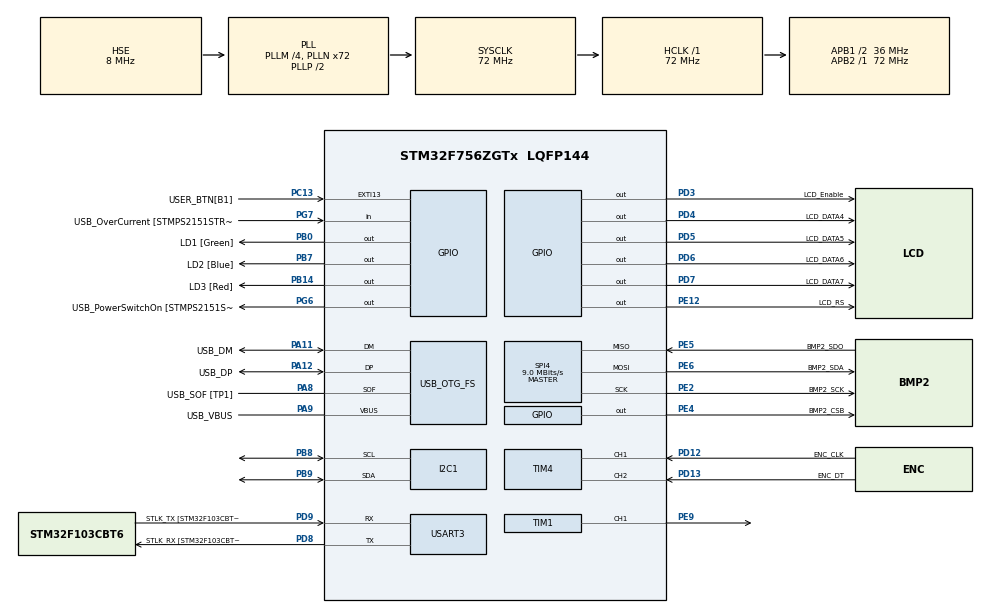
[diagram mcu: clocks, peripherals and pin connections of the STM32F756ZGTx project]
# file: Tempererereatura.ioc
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Dma.Request0=USART3_RX
Dma.USART3_RX.0.Direction=DMA_PERIPH_TO_MEMORY
Dma.USART3_RX.0.FIFOMode=DMA_FIFOMODE_DISABLE
Dma.USART3_RX.0.Instance=DMA1_Stream1
Dma.USART3_RX.0.MemDataAlignment=DMA_MDATAALIGN_BYTE
Dma.USART3_RX.0.MemInc=DMA_MINC_ENABLE
Dma.USART3_RX.0.Mode=DMA_NORMAL
Dma.USART3_RX.0.PeriphDataAlignment=DMA_PDATAALIGN_BYTE
Dma.USART3_RX.0.PeriphInc=DMA_PINC_DISABLE
Dma.USART3_RX.0.Priority=DMA_PRIORITY_LOW
I2C1.Timing=0x00808CD2
Mcu.Family=STM32F7
Mcu.Name=STM32F756ZGTx
Mcu.Package=LQFP144
NVIC.DMA1_Stream1_IRQn=true\:0\:0\:false\:true\:true\:2\:false\:true\:true
NVIC.PriorityGroup=NVIC_PRIORITYGROUP_4
NVIC.SPI4_IRQn=true\:0\:0\:false\:false\:true\:true\:true\:true
NVIC.TIM3_IRQn=true\:0\:0\:false\:false\:true\:true\:true\:true
NVIC.USART3_IRQn=true\:0\:0\:false\:true\:true\:1\:true\:true\:true
PA1.GPIO_Label=RMII_REF_CLK [LAN8742A-CZ-TR_REFCLK0]
PA1.Signal=ETH_REF_CLK
PA10.GPIO_Label=USB_ID
PA10.Signal=USB_OTG_FS_ID
PA11.GPIO_Label=USB_DM
PA11.Mode=Device_Only
PA11.Signal=USB_OTG_FS_DM
PA12.GPIO_Label=USB_DP
PA12.Mode=Device_Only
PA12.Signal=USB_OTG_FS_DP
PA13.GPIO_Label=TMS
PA13.Mode=Serial_Wire
PA13.Signal=SYS_JTMS-SWDIO
PA14.GPIO_Label=TCK
PA14.Mode=Serial_Wire
PA14.Signal=SYS_JTCK-SWCLK
PA2.GPIO_Label=RMII_MDIO [LAN8742A-CZ-TR_MDIO]
PA2.Signal=ETH_MDIO
PA7.GPIO_Label=RMII_CRS_DV [LAN8742A-CZ-TR_CRS_DV]
PA7.Signal=ETH_CRS_DV
PA8.GPIO_Label=USB_SOF [TP1]
PA8.Mode=Activate_SOF_FS
PA8.Signal=USB_OTG_FS_SOF
PA9.GPIO_Label=USB_VBUS
PA9.Mode=Activate_VBUS
PA9.Signal=USB_OTG_FS_VBUS
PB0.GPIO_Label=LD1 [Green]
PB0.Signal=GPIO_Output
PB13.GPIO_Label=RMII_TXD1 [LAN8742A-CZ-TR_TXD1]
PB13.Signal=ETH_TXD1
PB14.GPIO_Label=LD3 [Red]
PB14.Signal=GPIO_Output
PB3.GPIO_Label=SW0
PB3.Signal=SYS_JTDO-SWO
PB7.GPIO_Label=LD2 [Blue]
PB7.Signal=GPIO_Output
PB8.Mode=I2C
PB8.Signal=I2C1_SCL
PB9.Mode=I2C
PB9.Signal=I2C1_SDA
PC1.GPIO_Label=RMII_MDC [LAN8742A-CZ-TR_MDC]
PC1.Signal=ETH_MDC
PC13.GPIO_Label=USER_BTN[B1]
PC13.Signal=GPXTI13
PC14/OSC32_IN.Mode=LSE-External-Oscillator
PC14/OSC32_IN.Signal=RCC_OSC32_IN
PC15/OSC32_OUT.Mode=LSE-External-Oscillator
PC15/OSC32_OUT.Signal=RCC_OSC32_OUT
PC4.GPIO_Label=RMII_RXD0 [LAN8742A-CZ-TR_RXD0]
PC4.Signal=ETH_RXD0
PC5.GPIO_Label=RMII_RXD1 [LAN8742A-CZ-TR_RXD1]
PC5.Signal=ETH_RXD1
PD12.GPIO_Label=ENC_CLK
PD12.Signal=S_TIM4_CH1
PD13.GPIO_Label=ENC_DT
PD13.Signal=S_TIM4_CH2
PD3.GPIO_Label=LCD_Enable
PD3.Signal=GPIO_Output
PD4.GPIO_Label=LCD_DATA4
PD4.Signal=GPIO_Output
PD5.GPIO_Label=LCD_DATA5
PD5.Signal=GPIO_Output
PD6.GPIO_Label=LCD_DATA6
PD6.Signal=GPIO_Output
PD7.GPIO_Label=LCD_DATA7
PD7.Signal=GPIO_Output
PD8.GPIO_Label=STLK_RX [STM32F103CBT6_PA3]
PD8.Mode=Asynchronous
PD8.Signal=USART3_TX
PD9.GPIO_Label=STLK_TX [STM32F103CBT6_PA2]
PD9.Mode=Asynchronous
PD9.Signal=USART3_RX
PE12.GPIO_Label=LCD_RS
PE12.Signal=GPIO_Output
PE2.GPIO_Label=BMP2_SCK
PE2.Mode=Full_Duplex_Master
PE2.Signal=SPI4_SCK
PE4.GPIO_Label=BMP2_CSB
PE4.Signal=GPIO_Output
PE5.GPIO_Label=BMP2_SDO
PE5.Mode=Full_Duplex_Master
PE5.Signal=SPI4_MISO
PE6.GPIO_Label=BMP2_SDA
PE6.Mode=Full_Duplex_Master
PE6.Signal=SPI4_MOSI
PE9.Signal=S_TIM1_CH1
PG11.GPIO_Label=RMII_TX_EN [LAN8742A-CZ-TR_TXEN]
PG11.Signal=ETH_TX_EN
PG13.GPIO_Label=RMII_TXD0 [LAN8742A-CZ-TR_TXD0]
PG13.Signal=ETH_TXD0
PG6.GPIO_Label=USB_PowerSwitchOn [STMPS2151STR_EN]
PG6.Signal=GPIO_Output
PG7.GPIO_Label=USB_OverCurrent [STMPS2151STR_FAULT]
PG7.Signal=GPIO_Input
PH0/OSC_IN.GPIO_Label=MCO [STM32F103CBT6_PA8]
PH0/OSC_IN.Mode=HSE-External-Clock-Source
PH0/OSC_IN.Signal=RCC_OSC_IN
PH1/OSC_OUT.Mode=HSE-External-Clock-Source
PH1/OSC_OUT.Signal=RCC_OSC_OUT
ProjectManager.HeapSize=0x200
ProjectManager.StackSize=0x400
ProjectManager.TargetToolchain=STM32CubeIDE
RCC.48MHZClocksFreq_Value=24000000
RCC.AHBFreq_Value=72000000
RCC.APB1CLKDivider=RCC_HCLK_DIV2
RCC.APB1Freq_Value=36000000
RCC.APB1TimFreq_Value=72000000
RCC.APB2Freq_Value=72000000
RCC.APB2TimFreq_Value=72000000
RCC.CortexFreq_Value=72000000
RCC.HCLKFreq_Value=72000000
RCC.HSE_VALUE=8000000
RCC.HSI_VALUE=16000000
RCC.PLLM=4
RCC.PLLMUL=RCC_PLL_MUL9
RCC.PLLN=72
RCC.PLLQ=3
RCC.PRESCALERUSB=RCC_USBCLKSOURCE_PLL_DIV1_5
RCC.SYSCLKFreq_VALUE=72000000
RCC.SYSCLKSource=RCC_SYSCLKSOURCE_PLLCLK
RCC.SYSCLKSourceVirtual=RCC_SYSCLKSOURCE_PLLCLK
RCC.USBFreq_Value=48000000
RCC.VCOOutputFreq_Value=144000000
SH.S_TIM1_CH1.0=TIM1_CH1,PWM Generation1 CH1
SH.S_TIM4_CH1.0=TIM4_CH1,Encoder_Interface
SH.S_TIM4_CH2.0=TIM4_CH2,Encoder_Interface
SPI4.BaudRatePrescaler=SPI_BAUDRATEPRESCALER_8
SPI4.CLKPhase=SPI_PHASE_2EDGE
SPI4.CLKPolarity=SPI_POLARITY_HIGH
SPI4.CalculateBaudRate=9.0 MBits/s
SPI4.DataSize=SPI_DATASIZE_8BIT
SPI4.Direction=SPI_DIRECTION_2LINES
SPI4.Mode=SPI_MODE_MASTER
SPI4.VirtualType=VM_MASTER
TIM1.AutoReloadPreload=TIM_AUTORELOAD_PRELOAD_ENABLE
TIM1.Channel-PWM\ Generation1\ CH1=TIM_CHANNEL_1
TIM1.Period=1000-1
TIM1.Prescaler=72-1
TIM3.AutoReloadPreload=TIM_AUTORELOAD_PRELOAD_ENABLE
TIM3.Period=10000-1
TIM3.Prescaler=9600-1
TIM4.AutoReloadPreload=TIM_AUTORELOAD_PRELOAD_ENABLE
TIM4.EncoderMode=TIM_ENCODERMODE_TI12
TIM4.IC1Filter=15
TIM4.IC2Filter=15
USART3.VirtualMode-Asynchronous=VM_ASYNC
USB_OTG_FS.VirtualMode=Device_Only
VP_TIM1_VS_ClockSourceINT.Mode=Internal
VP_TIM3_VS_ClockSourceINT.Mode=Internal
board=NUCLEO-F756ZG

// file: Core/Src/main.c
/* USER CODE BEGIN Header */
/**
  ******************************************************************************
  * @file           : main.c
  * @brief          : Main program body
  ******************************************************************************
  * @attention
  *
  * <h2><center>&copy; Copyright (c) 2022 STMicroelectronics.
  * All rights reserved.</center></h2>
  *
  * This software component is licensed by ST under BSD 3-Clause license,
  * the "License"; You may not use this file except in compliance with the
  * License. You may obtain a copy of the License at:
  *                        opensource.org/licenses/BSD-3-Clause
  *
  ******************************************************************************
  */
/* USER CODE END Header */
#include "main.h"
#include "dma.h"
#include "i2c.h"
#include "spi.h"
#include "tim.h"
#include "usart.h"
#include "usb_otg.h"
#include "gpio.h"
#include "encoder.h"
#include "encoder_config.h"
/* USER CODE BEGIN Includes */
#include "stdio.h"
#include "string.h"
#include "stdlib.h"
#include "bmp2_config.h"
#include "bmp2_defs.h"
#include "bmp2.h"

/* USER CODE END Includes */

/* USER CODE BEGIN PV */
extern USART_HandleTypeDef husart6;
float current_temp_f;
char current_temp_ch_UART[29];
char current_temp_ch_LCD[29];
float set_temp_f = 25.0;
float temp_step=1.0;
int numerke;

double akt_temp = 0.0f;
float akt_temp_f= 0.0f;

char set_temp_ch_UART[24];
int32_t pressure;

uint32_t enc_uint;
static uint32_t prev_enc_uint = 65535 / 2;
int32_t enc_diff_int;
int suma_enkodera;

char enc_ch[64];

float pwm_duty_f;
uint16_t pwm_duty_u = 500;

char get_UART[10];

/* USER CODE END PV */

void SystemClock_Config(void);
static void MX_NVIC_Init(void);

/* USER CODE BEGIN 0 */
struct Controller{
	float Kp;
	float Ki;
	float Kd;
	float Tp;
	float prev_error;
	float prev_u_I;

};

float calculate_PID(struct Controller *PID, float set_temp, float meas_temp){
	float u = 0;
	float error;
	float u_P, u_I , u_D;

	error = set_temp - meas_temp;

	// Proportional
	u_P = PID->Kp * error;

	// Integral
	u_I = PID->Ki * PID->Tp / 2.0 * (error + PID->prev_error) + PID->prev_u_I;
	PID->prev_u_I = u_I;

	// Derivative
	u_D = (error - PID->prev_error) / PID->Tp;

	PID->prev_error = error;

	// Sum of P, I and D components
	u = u_P + u_I + u_D;

	return u;
}

struct Controller PID1;

/* USER CODE END 0 */

int main(void)
{

  /* MCU Configuration--------------------------------------------------------*/

  /* Reset of all peripherals, Initializes the Flash interface and the Systick. */
  HAL_Init();

  /* Configure the system clock */
  SystemClock_Config();

  /* Initialize all configured peripherals */
  MX_GPIO_Init();
  MX_DMA_Init();
  MX_I2C1_Init();
  MX_USART3_UART_Init();
  MX_USB_OTG_FS_PCD_Init();
  MX_TIM1_Init();
  MX_TIM3_Init();
  MX_TIM4_Init();
  MX_SPI4_Init();

  /* Initialize interrupts */
  MX_NVIC_Init();
  /* USER CODE BEGIN 2 */

  // TIM1 used used for controlling MOSFET with PWM
  HAL_TIM_PWM_Start(&htim1, TIM_CHANNEL_1);

  // TIM3 used for sampling temperature and PID controller
  HAL_TIM_Base_Start_IT(&htim3);

  // TIM4 used for encoder
  HAL_TIM_Encoder_Start(&htim4, TIM_CHANNEL_ALL);

  // BMP280 (temperature sensor) init
  BMP2_Init(&bmp2dev);

  // Prevents from bugging set_temp_f when encoder counter value goes through 0
  htim4.Instance->CNT = 65535 / 2;

  HAL_Delay(2000);

  // Initialize PID Controller parameters and init data
  PID1.Kp = 60;
  PID1.Ki = 0.5;
  PID1.Kd =30;
  PID1.Tp = 1;
  PID1.prev_error = 0;
  PID1.prev_u_I = 0;

  // Get setpoint value from user
  HAL_UARTEx_ReceiveToIdle_DMA(&huart3, (uint8_t *)get_UART, 10);

  /* USER CODE END 2 */

  /* Infinite loop */
  while (1)
  {

    /* USER CODE BEGIN 3 */
	  // LD1: pwm_duty_u > 0
	      if (pwm_duty_u > 0)
	      {
	          HAL_GPIO_WritePin(LD3_GPIO_Port, LD3_Pin, GPIO_PIN_SET); // Turn on LD1
	      }
	      else
	      {
	          HAL_GPIO_WritePin(LD3_GPIO_Port, LD3_Pin, GPIO_PIN_RESET); // Turn off LD1
	      }

	      // LD2: pwm_duty_u <= 0
	      if (pwm_duty_u <= 0)
	      {
	          HAL_GPIO_WritePin(LD2_GPIO_Port, LD2_Pin, GPIO_PIN_SET); // Turn on LD2
	      }
	      else
	      {
	          HAL_GPIO_WritePin(LD2_GPIO_Port, LD2_Pin, GPIO_PIN_RESET); // Turn off LD2
	      }

	      // LD3: |set_temp_f - akt_temp_f| <= 0.1
	      if (fabs(set_temp_f - akt_temp_f) <= 0.1)
	      {
	          HAL_GPIO_WritePin(LD1_GPIO_Port, LD1_Pin, GPIO_PIN_SET); // Turn on LD3
	      }
	      else
	      {
	          HAL_GPIO_WritePin(LD1_GPIO_Port, LD1_Pin, GPIO_PIN_RESET); // Turn off LD3
	      }

	      // Odczytanie wartości enkodera
	          int32_t encoder_value = ENC_GetCounter(&henc1);
	          numerke=encoder_value;
	          // Zresetowanie wartości enkodera po odczycie
	          ENC_SetCounter(&henc1, 0);

	          // Sprawdzanie kierunku (wartość dodatnia lub ujemna)
	          if (numerke > 0) {
	              set_temp_f += temp_step; // Obrót w prawo -> zwiększ temperaturę
	          } else if (numerke < 0) {
	              set_temp_f -= temp_step; // Obrót w lewo -> zmniejsz temperaturę
	          }

	          // Zabezpieczenie przed wyjściem poza zakres (np. 15.0°C - 35.0°C)
	          if (set_temp_f < 20.0f) {
	              set_temp_f = 20.0f;
	          } else if (set_temp_f > 34.0f) {
	              set_temp_f = 34.0f;
	          }

  }
  /* USER CODE END 3 */
}

void SystemClock_Config(void)
{
  RCC_OscInitTypeDef RCC_OscInitStruct = {0};
  RCC_ClkInitTypeDef RCC_ClkInitStruct = {0};

  /** Configure LSE Drive Capability
  */
  HAL_PWR_EnableBkUpAccess();

  /** Configure the main internal regulator output voltage
  */
  __HAL_RCC_PWR_CLK_ENABLE();
  __HAL_PWR_VOLTAGESCALING_CONFIG(PWR_REGULATOR_VOLTAGE_SCALE3);

  /** Initializes the RCC Oscillators according to the specified parameters
  * in the RCC_OscInitTypeDef structure.
  */
  RCC_OscInitStruct.OscillatorType = RCC_OSCILLATORTYPE_HSE;
  RCC_OscInitStruct.HSEState = RCC_HSE_BYPASS;
  RCC_OscInitStruct.PLL.PLLState = RCC_PLL_ON;
  RCC_OscInitStruct.PLL.PLLSource = RCC_PLLSOURCE_HSE;
  RCC_OscInitStruct.PLL.PLLM = 4;
  RCC_OscInitStruct.PLL.PLLN = 72;
  RCC_OscInitStruct.PLL.PLLP = RCC_PLLP_DIV2;
  RCC_OscInitStruct.PLL.PLLQ = 3;
  if (HAL_RCC_OscConfig(&RCC_OscInitStruct) != HAL_OK)
  {
    Error_Handler();
  }

  /** Initializes the CPU, AHB and APB buses clocks
  */
  RCC_ClkInitStruct.ClockType = RCC_CLOCKTYPE_HCLK|RCC_CLOCKTYPE_SYSCLK
                              |RCC_CLOCKTYPE_PCLK1|RCC_CLOCKTYPE_PCLK2;
  RCC_ClkInitStruct.SYSCLKSource = RCC_SYSCLKSOURCE_PLLCLK;
  RCC_ClkInitStruct.AHBCLKDivider = RCC_SYSCLK_DIV1;
  RCC_ClkInitStruct.APB1CLKDivider = RCC_HCLK_DIV2;
  RCC_ClkInitStruct.APB2CLKDivider = RCC_HCLK_DIV1;

  if (HAL_RCC_ClockConfig(&RCC_ClkInitStruct, FLASH_LATENCY_2) != HAL_OK)
  {
    Error_Handler();
  }
}

/**
  * @brief NVIC Configuration.
  * @retval None
  */
static void MX_NVIC_Init(void)
{
  /* USART3_IRQn interrupt configuration */
  HAL_NVIC_SetPriority(USART3_IRQn, 0, 0);
  HAL_NVIC_EnableIRQ(USART3_IRQn);
  /* DMA1_Stream1_IRQn interrupt configuration */
  HAL_NVIC_SetPriority(DMA1_Stream1_IRQn, 0, 0);
  HAL_NVIC_EnableIRQ(DMA1_Stream1_IRQn);
}

/* USER CODE BEGIN 4 */
// TIMERS callback handling
void HAL_TIM_PeriodElapsedCallback(TIM_HandleTypeDef *htim){
	if(htim->Instance == TIM3){
		static unsigned int cnt = 0;
		cnt++;
		// TEMPERATURE
		BMP2_ReadData(&bmp2dev, &pressure, &current_temp_f);
		akt_temp=BMP2_ReadTemperature_degC(&bmp2dev);
		akt_temp_f=akt_temp;
		//current_temp_f=20;
		sprintf(current_temp_ch_UART, "Current temperature: %.2f\n\r", akt_temp_f);
		HAL_UART_Transmit(&huart3, (uint8_t *)current_temp_ch_UART, sizeof(current_temp_ch_UART)-1, 1000);

		sprintf((char*)set_temp_ch_UART, "Set temperature: %.2f\n\r", set_temp_f);
		HAL_UART_Transmit(&huart3, (uint8_t*)set_temp_ch_UART, strlen(set_temp_ch_UART), 1000);

		pwm_duty_f = (htim1.Init.Period * calculate_PID(&PID1, set_temp_f, akt_temp));

		// Saturation
		if(pwm_duty_f < 0.0) pwm_duty_u = 0;
		else if(pwm_duty_f > htim1.Init.Period) pwm_duty_u = htim1.Init.Period;
		else pwm_duty_u = (uint16_t) pwm_duty_f;

//		pwm_duty_u = htim1.Init.Period;		// 100% PWM duty for creating model
		__HAL_TIM_SET_COMPARE(&htim1, TIM_CHANNEL_1, pwm_duty_u);

	}
	if(htim->Instance == TIM4){
		uint8_t tx_buffer[32];
		  int tx_msg_len = sprintf((char*)tx_buffer, "Encoder counter: %lu\n\r", ENC_GetCounter(&henc1));
		  HAL_UART_Transmit(&huart3, tx_buffer, tx_msg_len, 100);
	}

}

// UART callback handling
void HAL_UARTEx_RxEventCallback(UART_HandleTypeDef *huart, uint16_t Size){
	if(huart->Instance == USART3){
		float tmp = atof(get_UART);
		if(tmp < 20) set_temp_f = 20;
		else if(tmp > 34) set_temp_f = 34;
		else set_temp_f = tmp;

		HAL_UARTEx_ReceiveToIdle_DMA(&huart3, (uint8_t *)get_UART, 10);
	}
}

/* USER CODE END 4 */

void Error_Handler(void)
{
  __disable_irq();
  while (1)
  {
  }
}
